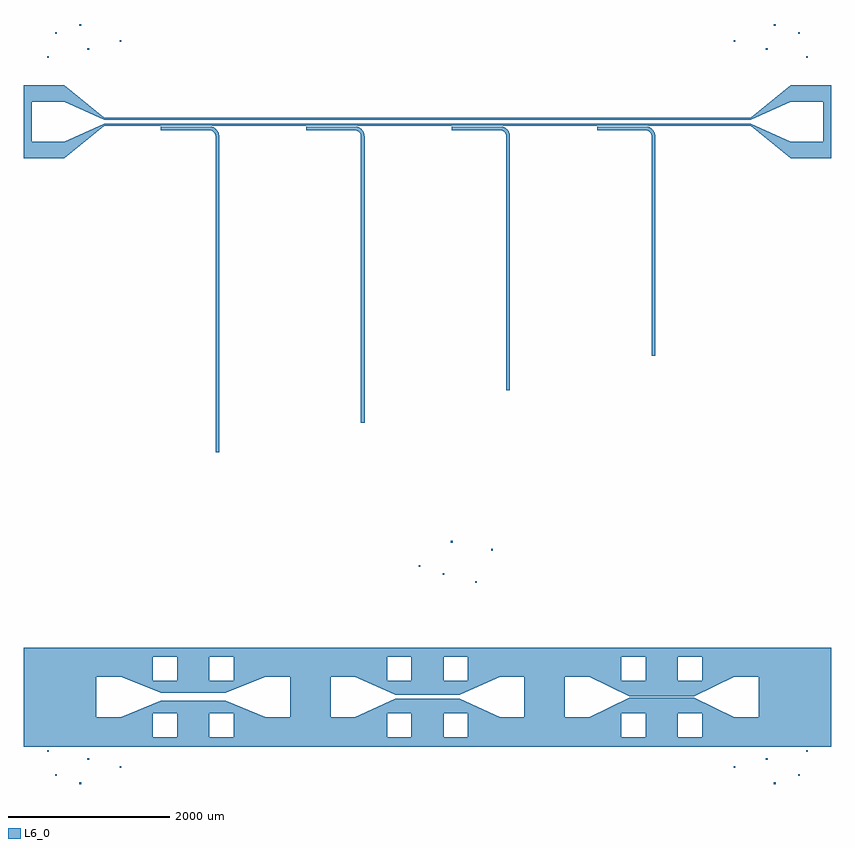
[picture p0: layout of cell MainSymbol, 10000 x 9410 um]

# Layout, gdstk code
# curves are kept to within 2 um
import gdstk
lib = gdstk.Library(unit=1e-6, precision=1e-09)
def R(c, l, rs):  # rectangles x0, y0, x1, y1
    for r in rs: c.add(gdstk.rectangle(r[:2], r[2:], *l))
def P(c, l, *ps):  # polygons
    for p in ps: c.add(gdstk.Polygon(p, *l))
L6_0 = (6, 0)

mainsymbol = lib.new_cell('MainSymbol')
R(mainsymbol, L6_0, [(-4310,-4700,-4290,-4680), (4290,-4700,4310,-4680), (-4610,-4600,-4590,-4580), (4590,-4600,4610,-4580), (-3810,-4500,-3790,-4480), (3790,-4500,3810,-4480), (-4210,-4400,-4190,-4380), (4190,-4400,4210,-4380), (-4710,-4300,-4690,-4280), (4690,-4300,4710,-4280), (590,-2210,610,-2190), (190,-2110,210,-2090), (-110,-2010,-90,-1990), (790,-1810,810,-1790), (290,-1710,310,-1690), (-4710,4290,-4690,4310), (4690,4290,4710,4310), (-4210,4390,-4190,4410), (4190,4390,4210,4410), (-3810,4490,-3790,4510), (3790,4490,3810,4510), (-4610,4590,-4590,4610), (4590,4590,4610,4610), (-4310,4690,-4290,4710), (4290,4690,4310,4710)])
P(mainsymbol, L6_0, [(-5000,3050),(-4500,3050),(-4000,3450),(4000,3450),(4500,3050),(5000,3050),(5000,3950),(4500,3950),(4000,3550),(4000,3525),(4500,3750),(4900,3750),(4900,3250),(4500,3250),(4000,3475),(-4000,3475),(-4500,3250),(-4900,3250),(-4900,3750),(-4500,3750),(-4000,3525),(4000,3525),(4000,3550),(-4000,3550),(-4500,3950),(-5000,3950)],
  [(-5000,-4240),(5000,-4240),(5000,-3010),(3400,-3010),(3400,-3422),(3102,-3422),(3102,-3612),(3300,-3612),(3800,-3372),(4100,-3372),(4100,-3872),(3800,-3872),(3300,-3632),(3102,-3632),(3102,-3822),(3400,-3822),(3400,-4122),(3100,-4122),(3100,-3632),(2700,-3632),(2700,-4122),(2400,-4122),(2400,-3822),(2698,-3822),(2698,-3632),(2500,-3632),(2000,-3872),(1700,-3872),(1700,-3372),(2000,-3372),(2500,-3612),(2698,-3612),(2698,-3422),(2400,-3422),(2400,-3122),(2700,-3122),(2700,-3612),(3100,-3612),(3100,-3122),(3400,-3122),(3400,-3010),(500,-3010),(500,-3422),(202,-3422),(202,-3597),(400,-3597),(900,-3372),(1200,-3372),(1200,-3872),(900,-3872),(400,-3647),(202,-3647),(202,-3822),(500,-3822),(500,-4122),(200,-4122),(200,-3647),(-200,-3647),(-200,-4122),(-500,-4122),(-500,-3822),(-202,-3822),(-202,-3647),(-400,-3647),(-900,-3872),(-1200,-3872),(-1200,-3372),(-900,-3372),(-400,-3597),(-202,-3597),(-202,-3422),(-500,-3422),(-500,-3122),(-200,-3122),(-200,-3597),(200,-3597),(200,-3122),(500,-3122),(500,-3010),(-2400,-3010),(-2400,-3422),(-2698,-3422),(-2698,-3572),(-2500,-3572),(-2000,-3372),(-1700,-3372),(-1700,-3872),(-2000,-3872),(-2500,-3672),(-2698,-3672),(-2698,-3822),(-2400,-3822),(-2400,-4122),(-2700,-4122),(-2700,-3672),(-3100,-3672),(-3100,-4122),(-3400,-4122),(-3400,-3822),(-3102,-3822),(-3102,-3672),(-3300,-3672),(-3800,-3872),(-4100,-3872),(-4100,-3372),(-3800,-3372),(-3300,-3572),(-3102,-3572),(-3102,-3422),(-3400,-3422),(-3400,-3122),(-3100,-3122),(-3100,-3572),(-2700,-3572),(-2700,-3122),(-2400,-3122),(-2400,-3010),(-5000,-3010)],
  [(-3300,3396),(-2692.988,3395.676),(-2669.659,3389.681),(-2648.799,3376.165),(-2633.416,3356.641),(-2625.155,3333.197),(-2624,-595),(-2580,-595),(-2581.823,3340.838),(-2591.243,3370.714),(-2615.147,3404.853),(-2649.286,3428.757),(-2679.162,3438.177),(-3300,3440),(-3300,3420),(-2682.635,3418.481),(-2650,3406.603),(-2629.289,3390.711),(-2613.397,3370),(-2601.519,3337.365),(-2600,-565),(-2604,-565),(-2605.458,3336.67),(-2616.862,3368),(-2638.292,3393.54),(-2659.429,3407.006),(-2691.633,3415.635),(-3300,3416)],
  [(-1500,3396),(-892.988,3395.676),(-869.659,3389.681),(-848.799,3376.165),(-833.795,3357.322),(-825.441,3334.731),(-824,-225),(-780,-225),(-781.823,3340.838),(-791.243,3370.714),(-815.147,3404.853),(-849.286,3428.757),(-879.162,3438.177),(-1500,3440),(-1500,3420),(-882.635,3418.481),(-850,3406.603),(-829.289,3390.711),(-813.397,3370),(-801.519,3337.365),(-800,-195),(-804,-195),(-805.458,3336.67),(-816.862,3368),(-838.292,3393.54),(-859.429,3407.006),(-891.633,3415.635),(-1500,3416)],
  [(300,3396),(906.235,3395.744),(929.624,3389.989),(949.447,3377.715),(965.024,3359.343),(974.07,3337.02),(976,175),(1020,175),(1020,3320),(1015.911,3351.058),(1003.923,3380),(977.135,3411.925),(950.714,3428.757),(910.459,3439.543),(300,3440),(300,3420),(917.365,3418.481),(950,3406.603),(970.711,3390.711),(986.603,3370),(998.481,3337.365),(1000,205),(996,205),(994.542,3336.67),(983.138,3368),(961.708,3393.54),(940.571,3407.006),(908.367,3415.635),(300,3416)],
  [(2100,3396),(2706.235,3395.744),(2728.904,3390.289),(2748.852,3378.219),(2764.202,3360.67),(2773.51,3339.293),(2776,3320),(2776,605),(2820,605),(2820,3320),(2815.911,3351.058),(2803.923,3380),(2777.135,3411.925),(2750.714,3428.757),(2710.459,3439.543),(2100,3440),(2100,3420),(2717.365,3418.481),(2750,3406.603),(2770.711,3390.711),(2786.603,3370),(2796.593,3345.882),(2800,3320),(2800,635),(2796,635),(2796,3320),(2792.729,3344.847),(2778.639,3375.063),(2761.708,3393.54),(2740.571,3407.006),(2708.367,3415.635),(2100,3416)])

lib.write_gds('MainSymbol.gds')
